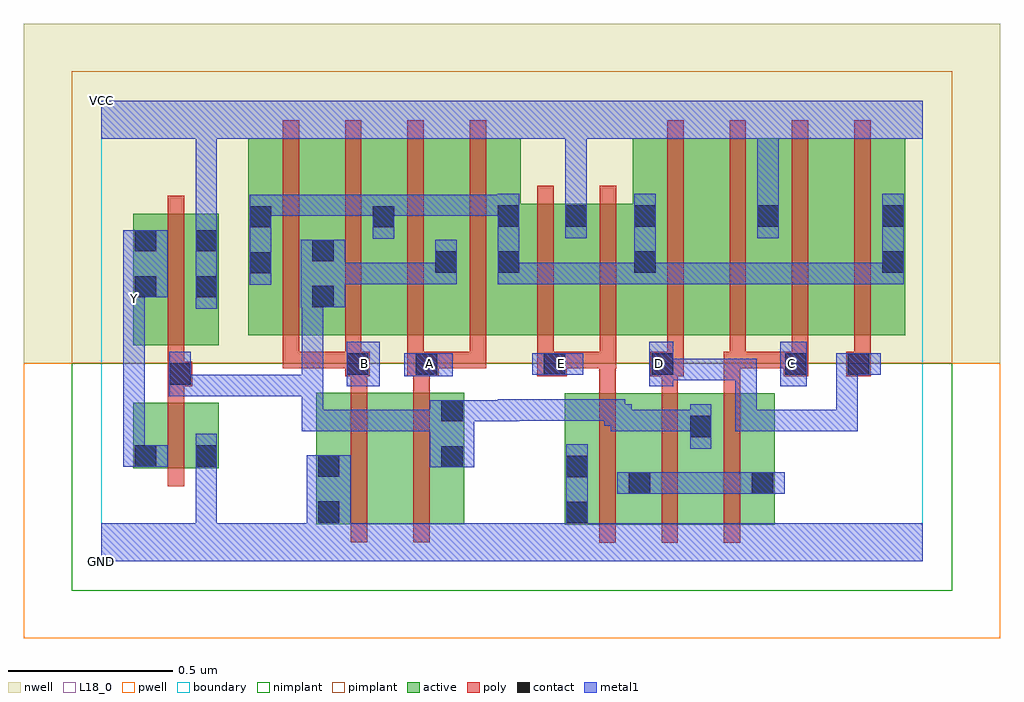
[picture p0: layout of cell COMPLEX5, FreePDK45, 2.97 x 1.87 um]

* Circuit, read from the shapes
.subckt COMPLEX5 A B C D E GND VCC Y
M1 GND n1 Y VSUBS nfet w=0.2u l=0.05u
M2 n2 B GND VSUBS nfet w=0.4u l=0.05u
M3 n1 A n2 VSUBS nfet w=0.4u l=0.05u
M4 n3 E GND VSUBS nfet w=0.4u l=0.05u
M5 n1 D n3 VSUBS nfet w=0.4u l=0.05u
M6 n3 C n1 VSUBS nfet w=0.4u l=0.05u
M7 VCC n1 Y n4 pfet w=0.4u l=0.05u
M8 n1 B n5 n4 pfet w=0.6u l=0.05u m=2
M9 n1 A n5 n4 pfet w=0.6u l=0.05u m=2
M10 VCC E n5 n4 pfet w=0.4u l=0.05u m=2
M11 n6 D n5 n4 pfet w=0.6u l=0.05u
M12 VCC C n6 n4 pfet w=0.6u l=0.05u
M13 n7 C VCC n4 pfet w=0.6u l=0.05u
M14 n5 D n7 n4 pfet w=0.6u l=0.05u
.ends

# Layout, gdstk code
import gdstk
lib = gdstk.Library(unit=1e-6, precision=1e-09)
def R(c, l, rs):  # rectangles x0, y0, x1, y1
    for r in rs: c.add(gdstk.rectangle(r[:2], r[2:], *l))
def A(c, l, x, y, w, h, nx, ny, dx, dy):  # array of equal rectangles
    R(c, l, [(x+i*dx, y+j*dy, x+i*dx+w, y+j*dy+h) for i in range(nx) for j in range(ny)])
active = (1, 0)
pwell = (2, 0)
nwell = (3, 0)
nimplant = (4, 0)
pimplant = (5, 0)
poly = (9, 0)
contact = (10, 0)
metal1 = (11, 0)
L18_0 = (18, 0)
boundary = (235, 0)

complex5 = lib.new_cell('COMPLEX5')
R(complex5, active, [(1.41,0.11,1.675,0.51), (1.41,0.11,1.485,0.51), (1.6,0.11,1.862,0.51), (1.787,0.11,2.05,0.51), (0.655,0.112,0.73,0.512), (0.655,0.112,0.88,0.512), (0.88,0.112,1.105,0.512), (1.03,0.147,1.105,0.512), (1.6,0.147,1.675,0.492), (1.787,0.147,1.862,0.492), (1.975,0.147,2.05,0.51), (0.097,0.282,0.172,0.482), (0.097,0.282,0.357,0.482), (0.282,0.282,0.357,0.482), (0.097,0.657,0.172,1.057), (0.097,0.657,0.357,1.057), (0.282,0.657,0.357,1.057), (0.447,0.687,0.522,1.2), (0.447,0.687,0.712,1.287), (0.637,0.687,0.897,1.287), (0.822,0.687,1.087,1.287), (1.012,0.687,1.277,1.287), (1.202,0.687,1.277,1.2), (1.202,0.687,1.482,1.087), (1.407,0.687,1.692,1.087), (1.617,0.687,1.692,1.2), (1.617,0.687,1.842,1.287), (1.842,0.687,2.067,1.287), (1.992,0.687,2.222,1.287), (2.222,0.687,2.447,1.287), (2.372,0.687,2.447,1.2), (0.637,0.707,0.712,1.07), (0.822,0.707,0.897,1.2), (1.012,0.707,1.087,1.07), (1.992,0.707,2.067,1.257), (1.407,0.907,1.482,1.087)])
R(complex5, pwell, [(-0.235,-0.235,2.735,0.602)])
R(complex5, nwell, [(-0.235,0.602,2.735,1.635)])
R(complex5, nimplant, [(-0.09,-0.09,2.59,0.602)])
R(complex5, pimplant, [(-0.09,0.602,2.59,1.49)])
A(complex5, poly, 1.515, 0.055, 0.05, 0.51, 3, 1, 0.19, 0)
A(complex5, poly, 0.552, 0.587, 0.05, 0.095, 4, 1, 0.19, 0)
A(complex5, poly, 1.722, 0.587, 0.05, 0.095, 4, 1, 0.19, 0)
A(complex5, poly, 0.552, 0.632, 0.05, 0.71, 4, 1, 0.19, 0)
A(complex5, poly, 1.722, 0.632, 0.05, 0.71, 4, 1, 0.19, 0)
R(complex5, poly, [(0.76,0.057,0.81,0.567), (0.95,0.057,1,0.567), (0.202,0.227,0.252,0.537), (0.202,0.487,0.252,0.582), (1.515,0.515,1.565,0.637), (1.705,0.515,1.755,0.612), (1.895,0.515,1.945,0.637), (0.76,0.517,0.81,0.612), (0.95,0.517,1,0.612), (0.202,0.532,0.277,0.607), (0.202,0.557,0.252,0.652), (0.742,0.562,0.817,0.637), (0.932,0.562,1.027,0.637), (1.327,0.562,1.417,0.637), (1.67,0.562,1.772,0.637), (2.077,0.562,2.152,0.637), (2.267,0.562,2.342,0.637), (0.552,0.587,0.602,0.637), (0.552,0.587,0.602,0.637), (0.552,0.587,0.602,0.637), (0.552,0.587,0.792,0.637), (0.977,0.587,1.172,0.637), (1.122,0.587,1.172,0.637), (1.122,0.587,1.172,0.637), (1.122,0.587,1.172,0.637), (1.327,0.587,1.377,0.682), (1.367,0.587,1.565,0.637), (1.515,0.587,1.565,0.637), (1.515,0.587,1.565,0.637), (1.515,0.587,1.567,0.637), (1.517,0.587,1.567,0.682), (1.895,0.587,1.962,0.637), (1.912,0.587,2.127,0.637), (2.077,0.587,2.127,0.637), (2.077,0.587,2.127,0.637), (0.202,0.602,0.252,1.112), (1.327,0.632,1.377,1.142), (1.517,0.632,1.567,1.142)])
R(complex5, contact, [(1.415,0.115,1.48,0.18), (0.66,0.117,0.725,0.182), (1.605,0.205,1.67,0.27), (1.98,0.205,2.045,0.27), (1.415,0.255,1.48,0.32), (0.66,0.257,0.725,0.322), (1.035,0.285,1.1,0.35), (0.102,0.287,0.167,0.352), (0.287,0.287,0.352,0.352), (1.792,0.377,1.857,0.442), (1.035,0.425,1.1,0.49), (0.207,0.537,0.272,0.602), (0.747,0.567,0.812,0.632), (0.957,0.567,1.022,0.632), (1.347,0.567,1.412,0.632), (1.675,0.567,1.74,0.632), (2.082,0.567,2.147,0.632), (2.272,0.567,2.337,0.632), (0.642,0.772,0.707,0.837), (0.102,0.802,0.167,0.867), (0.287,0.802,0.352,0.867), (0.452,0.875,0.517,0.94), (1.017,0.877,1.082,0.942), (1.207,0.877,1.272,0.942), (1.622,0.877,1.687,0.942), (2.377,0.877,2.442,0.942), (0.642,0.912,0.707,0.977), (0.102,0.942,0.167,1.007), (0.287,0.942,0.352,1.007), (0.452,1.015,0.517,1.08), (0.827,1.015,0.892,1.08), (1.207,1.017,1.272,1.082), (1.412,1.017,1.477,1.082), (1.622,1.017,1.687,1.082), (1.997,1.017,2.062,1.082), (2.377,1.017,2.442,1.082)])
R(complex5, metal1, [(0,0,2.5,0.115), (0.287,0.05,0.352,0.115), (0.287,0.05,0.352,0.115), (0.287,0.05,0.352,0.115), (0.287,0.05,0.352,0.115), (0.287,0.05,0.352,0.317), (0.695,0.05,0.76,0.182), (1.415,0.05,1.48,0.145), (1.415,0.08,1.48,0.355), (0.625,0.117,0.76,0.322), (1.57,0.205,1.705,0.27), (1.64,0.205,1.842,0.27), (1.777,0.205,1.842,0.27), (1.777,0.205,1.842,0.27), (1.777,0.205,1.842,0.27), (1.777,0.205,1.995,0.27), (1.93,0.205,1.995,0.27), (1.93,0.205,2.01,0.27), (1.945,0.205,2.08,0.27), (0.287,0.252,0.352,0.387), (1,0.285,1.135,0.49), (0.067,0.287,0.202,0.352), (0.067,0.287,0.132,0.797), (1.792,0.342,1.857,0.477), (0.61,0.395,0.675,0.46), (0.61,0.395,0.675,0.46), (0.61,0.395,0.675,0.46), (0.61,0.395,0.88,0.46), (0.61,0.395,0.675,0.567), (0.815,0.395,0.88,0.46), (0.815,0.395,0.88,0.46), (0.815,0.395,0.88,0.46), (0.815,0.395,1.065,0.46), (1.55,0.395,1.857,0.46), (1.55,0.395,1.615,0.477), (1.792,0.395,1.857,0.46), (1.792,0.395,1.857,0.46), (1.93,0.395,1.995,0.46), (1.93,0.395,2.132,0.46), (1.93,0.395,1.995,0.615), (2.067,0.395,2.132,0.46), (2.067,0.395,2.302,0.46), (2.237,0.395,2.302,0.46), (2.237,0.395,2.302,0.632), (1.53,0.412,1.615,0.477), (1.53,0.412,1.595,0.492), (1.07,0.425,1.135,0.49), (1.07,0.425,1.135,0.49), (1.07,0.425,1.272,0.49), (1.207,0.425,1.272,0.492), (1.207,0.427,1.457,0.492), (1.392,0.427,1.457,0.492), (1.392,0.427,1.457,0.492), (1.392,0.427,1.457,0.492), (1.392,0.427,1.595,0.492), (0.207,0.502,0.272,0.567), (0.207,0.502,0.272,0.567), (0.207,0.502,0.272,0.637), (0.207,0.502,0.41,0.567), (0.345,0.502,0.41,0.567), (0.345,0.502,0.41,0.567), (0.345,0.502,0.41,0.567), (0.345,0.502,0.675,0.567), (0.61,0.502,0.675,0.567), (0.61,0.502,0.675,0.837), (0.747,0.532,0.847,0.667), (1.667,0.532,1.74,0.667), (2.067,0.532,2.147,0.667), (1.675,0.55,1.842,0.615), (1.777,0.55,1.842,0.615), (1.777,0.55,1.995,0.615), (1.93,0.55,1.995,0.615), (1.93,0.55,1.995,0.615), (1.93,0.55,1.995,0.615), (0.922,0.562,1.07,0.632), (1.312,0.567,1.467,0.632), (2.237,0.567,2.302,0.632), (2.237,0.567,2.302,0.632), (2.237,0.567,2.372,0.632), (0.067,0.732,0.132,0.867), (0.287,0.767,0.352,1.042), (0.607,0.772,0.742,0.977), (0.067,0.802,0.132,0.867), (0.067,0.802,0.202,1.007), (0.452,0.84,0.517,1.115), (0.677,0.842,0.742,0.907), (0.677,0.842,0.742,0.907), (0.677,0.842,0.927,0.907), (0.862,0.842,0.927,0.907), (0.862,0.842,0.927,0.907), (0.862,0.842,0.927,0.907), (0.862,0.842,1.082,0.907), (1.017,0.842,1.082,0.977), (1.207,0.842,1.272,0.907), (1.207,0.842,1.272,0.907), (1.207,0.842,1.272,1.117), (1.207,0.842,1.41,0.907), (1.345,0.842,1.41,0.907), (1.345,0.842,1.41,0.907), (1.345,0.842,1.41,0.907), (1.345,0.842,1.595,0.907), (1.53,0.842,1.595,0.907), (1.53,0.842,1.687,0.907), (1.622,0.842,1.687,1.117), (1.622,0.842,1.857,0.907), (1.792,0.842,1.857,0.907), (1.792,0.842,1.857,0.907), (1.792,0.842,1.857,0.907), (1.792,0.842,1.995,0.907), (1.93,0.842,1.995,0.907), (1.93,0.842,1.995,0.907), (1.93,0.842,1.995,0.907), (1.93,0.842,2.132,0.907), (2.067,0.842,2.132,0.907), (2.067,0.842,2.132,0.907), (2.067,0.842,2.132,0.907), (2.067,0.842,2.442,0.907), (2.377,0.842,2.442,0.907), (2.377,0.842,2.442,0.907), (2.377,0.842,2.442,1.117), (0.287,0.977,0.352,1.042), (0.287,0.977,0.352,1.042), (0.287,0.977,0.352,1.35), (0.827,0.98,0.892,1.115), (1.412,0.982,1.477,1.117), (1.997,0.982,2.062,1.117), (0.452,1.05,0.517,1.115), (0.452,1.05,0.517,1.115), (0.452,1.05,0.655,1.115), (0.59,1.05,0.655,1.115), (0.59,1.05,0.655,1.115), (0.59,1.05,0.655,1.115), (0.59,1.05,0.892,1.115), (0.827,1.05,0.892,1.115), (0.827,1.05,0.892,1.115), (0.827,1.05,1.135,1.115), (1.07,1.05,1.135,1.115), (1.07,1.05,1.135,1.115), (1.07,1.05,1.135,1.115), (1.07,1.05,1.272,1.115), (1.412,1.052,1.477,1.35), (1.997,1.052,2.062,1.35), (0,1.285,2.5,1.4), (1.412,1.285,1.477,1.35), (1.412,1.285,1.477,1.35)])
R(complex5, L18_0, [(0,0,2.5,0.115), (0.287,0.05,0.352,0.115), (0.287,0.05,0.352,0.115), (0.287,0.05,0.352,0.115), (0.287,0.05,0.352,0.115), (0.287,0.05,0.352,0.317), (0.695,0.05,0.76,0.182), (1.415,0.05,1.48,0.145), (1.415,0.08,1.48,0.355), (0.625,0.117,0.76,0.322), (0.287,0.252,0.352,0.387), (0.067,0.287,0.202,0.352), (0.067,0.287,0.132,0.797), (1.93,0.395,1.995,0.46), (1.93,0.395,1.995,0.615), (1.93,0.395,2.132,0.46), (2.067,0.395,2.132,0.46), (2.067,0.395,2.302,0.46), (2.237,0.395,2.302,0.46), (2.237,0.395,2.302,0.632), (0.747,0.532,0.847,0.667), (1.667,0.532,1.74,0.667), (2.067,0.532,2.147,0.667), (1.675,0.55,1.842,0.615), (1.777,0.55,1.842,0.615), (1.777,0.55,1.995,0.615), (1.93,0.55,1.995,0.615), (1.93,0.55,1.995,0.615), (1.93,0.55,1.995,0.615), (0.922,0.562,1.07,0.632), (0.767,0.567,0.832,0.632), (0.967,0.567,1.032,0.632), (1.312,0.567,1.467,0.632), (1.367,0.567,1.432,0.632), (1.667,0.567,1.732,0.632), (2.067,0.567,2.132,0.632), (2.237,0.567,2.372,0.632), (2.237,0.567,2.302,0.632), (2.237,0.567,2.302,0.632), (0.067,0.732,0.132,0.867), (0.067,0.767,0.132,0.832), (0.287,0.767,0.352,1.042), (0.067,0.802,0.202,1.007), (0.067,0.802,0.132,0.867), (0.287,0.977,0.352,1.042), (0.287,0.977,0.352,1.042), (0.287,0.977,0.352,1.35), (1.412,0.982,1.477,1.117), (1.997,0.982,2.062,1.117), (1.412,1.052,1.477,1.35), (1.997,1.052,2.062,1.35), (0,1.285,2.5,1.4), (1.412,1.285,1.477,1.35), (1.412,1.285,1.477,1.35)])
R(complex5, boundary, [(0,0,2.5,1.4)])
complex5.add(gdstk.Label('A', (1,0.6), layer=11, texttype=0))
complex5.add(gdstk.Label('B', (0.8,0.6), layer=11, texttype=0))
complex5.add(gdstk.Label('C', (2.1,0.6), layer=11, texttype=0))
complex5.add(gdstk.Label('D', (1.7,0.6), layer=11, texttype=0))
complex5.add(gdstk.Label('E', (1.4,0.6), layer=11, texttype=0))
complex5.add(gdstk.Label('Y', (0.1,0.8), layer=11, texttype=0))
complex5.add(gdstk.Label('VCC', (0,1.4), layer=11, texttype=0))
complex5.add(gdstk.Label('GND', (0,0), layer=11, texttype=0))

lib.write_gds('COMPLEX5.gds')
